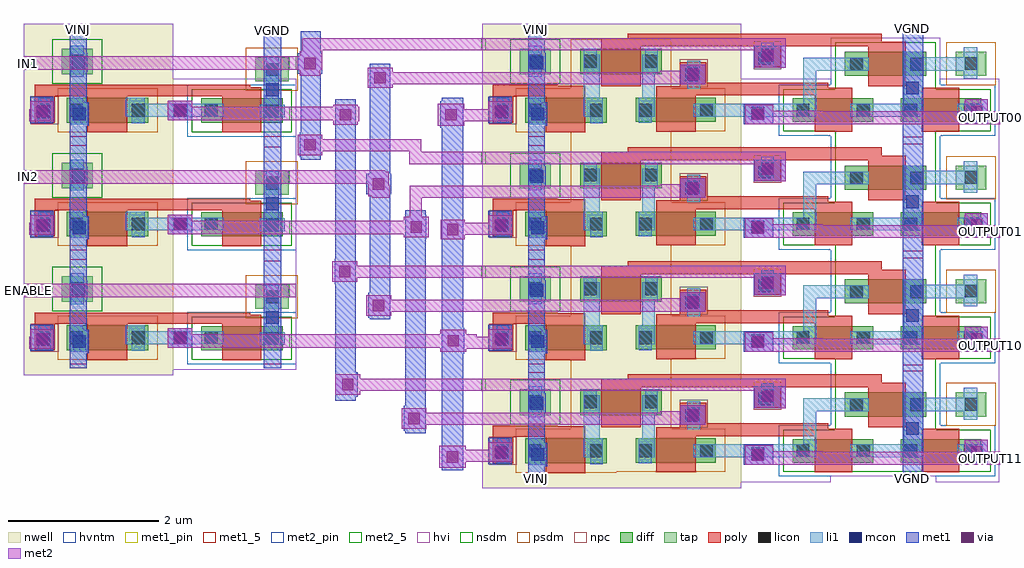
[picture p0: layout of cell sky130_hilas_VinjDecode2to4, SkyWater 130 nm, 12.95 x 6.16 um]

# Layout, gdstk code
import gdstk
lib = gdstk.Library(unit=1e-6, precision=1e-09)
def R(c, l, rs):  # rectangles x0, y0, x1, y1
    for r in rs: c.add(gdstk.rectangle(r[:2], r[2:], *l))
def A(c, l, x, y, w, h, nx, ny, dx, dy):  # array of equal rectangles
    R(c, l, [(x+i*dx, y+j*dy, x+i*dx+w, y+j*dy+h) for i in range(nx) for j in range(ny)])
nwell = (64, 20)
diff = (65, 20)
tap = (65, 44)
poly = (66, 20)
licon = (66, 44)
li1 = (67, 20)
mcon = (67, 44)
met1_5 = (68, 5)
met1_pin = (68, 16)
met1 = (68, 20)
via = (68, 44)
met2_5 = (69, 5)
met2_pin = (69, 16)
met2 = (69, 20)
hvi = (75, 20)
nsdm = (93, 44)
psdm = (94, 20)
npc = (95, 20)
hvntm = (125, 20)

sky130_hilas_vinjnor3 = lib.new_cell('sky130_hilas_VinjNOR3')
R(sky130_hilas_vinjnor3, nwell, [(-3.36,1.44,0.08,3.08)])
R(sky130_hilas_vinjnor3, diff, [(-2.79,1.77,-1.71,2.1), (-1.32,1.78,-0.26,2.1), (0.76,1.78,1.83,2.09), (2.19,1.78,3.26,2.09), (1.45,2.39,2.53,2.71), (-2.06,2.41,-0.98,2.75)])
R(sky130_hilas_vinjnor3, tap, [(2.92,2.39,3.33,2.71), (-2.86,2.41,-2.45,2.75)])
R(sky130_hilas_vinjnor3, poly, [(-2.52,1.64,-1.99,2.12), (-1.05,1.65,-0.53,2.13), (1.05,1.65,1.55,2.13), (2.47,1.65,2.97,2.23), (-3.22,1.77,-2.95,2.12), (-3.22,2.12,-1.99,2.26), (-1.05,2.13,1.55,2.23), (-1.05,2.23,1.23,2.25), (-1.78,2.25,-1.26,2.78), (-0.74,2.25,1.23,2.3), (1.76,2.25,2.26,2.78), (-3.22,2.26,-2.36,2.27), (-0.74,2.3,-0.39,2.57), (0.25,2.51,0.6,2.78), (-1.78,2.78,2.26,2.84), (-1.78,2.84,1.94,2.89), (-1.43,2.89,1.94,2.95)])
R(sky130_hilas_vinjnor3, licon, [(-3.17,1.85,-3,2.02), (-2.75,1.85,-2.58,2.02), (-1.93,1.85,-1.76,2.02), (-1.28,1.85,-1.11,2.02), (-0.47,1.85,-0.3,2.02), (0.81,1.85,0.98,2.02), (1.61,1.85,1.78,2.02), (2.24,1.85,2.41,2.02), (3.03,1.85,3.2,2.02), (-0.64,2.34,-0.47,2.51), (1.52,2.46,1.69,2.63), (2.32,2.46,2.49,2.63), (3.04,2.47,3.21,2.64), (-2.74,2.5,-2.57,2.67), (-2.01,2.5,-1.84,2.67), (-1.2,2.5,-1.03,2.67), (0.34,2.58,0.51,2.75)])
R(sky130_hilas_vinjnor3, li1, [(-2.74,1.75,-2.5,1.77), (-1.93,1.76,-1.76,1.85), (-3.17,1.77,-3,1.83), (-2.75,1.77,-2.5,2.04), (-1.28,1.77,-1.11,1.85), (0.21,1.81,0.38,1.85), (-3.19,1.83,-3,2), (-2.01,1.85,-1.76,2.1), (-1.28,1.85,-1.07,2.1), (-0.56,1.85,1.07,2.02), (1.52,1.85,2.49,2.02), (2.94,1.85,3.28,2.02), (-3.17,2,-3,2.1), (0.9,2.02,1.07,2.46), (2.23,2.02,2.49,2.46), (-2.75,2.04,-2.58,2.1), (-2.01,2.1,-1.8,2.67), (-1.24,2.1,-1.07,2.42), (-0.64,2.22,-0.47,2.32), (-0.67,2.32,-0.47,2.49), (3.03,2.35,3.21,2.46), (-2.74,2.38,-2.57,2.48), (-1.24,2.42,-1.03,2.67), (0.9,2.46,1.77,2.63), (2.23,2.46,3.21,2.64), (-2.74,2.48,-2.55,2.65), (-0.64,2.49,-0.47,2.59), (0.34,2.5,0.51,2.54), (0.3,2.54,0.51,2.71), (2.23,2.64,2.49,2.71), (3.03,2.64,3.21,2.77), (-2.74,2.65,-2.57,2.79), (-2.01,2.67,-1.84,2.75), (-1.2,2.67,-1.03,2.75), (0.34,2.71,0.51,2.83)])
R(sky130_hilas_vinjnor3, mcon, [(-2.71,1.8,-2.54,1.97), (0.21,1.81,0.38,1.98), (-3.19,1.83,-3.02,2), (2.265,2.145,2.435,2.315), (-0.67,2.32,-0.5,2.49), (-2.72,2.48,-2.55,2.65), (0.3,2.54,0.47,2.71)])
R(sky130_hilas_vinjnor3, met1_5, [(-2.75,1.53,-2.53,1.59), (2.22,1.53,2.49,1.58), (-2.75,2.97,-2.53,3.04), (2.22,2.99,2.49,3.05)])
R(sky130_hilas_vinjnor3, met1, [(-2.75,1.53,-2.53,1.73), (2.22,1.53,2.49,3.05), (-2.75,1.73,-2.5,2.04), (0.11,1.75,0.5,2.02), (-3.28,1.76,-2.97,2.11), (3.04,1.76,3.35,2.08), (-2.75,2.04,-2.53,2.44), (-0.73,2.28,-0.4,2.54), (-2.75,2.44,-2.52,2.7), (0.24,2.5,0.67,2.79), (-2.75,2.7,-2.53,3.04)])
R(sky130_hilas_vinjnor3, via, [(0.225,1.805,0.375,1.955), (-3.195,1.845,-3.045,1.995), (3.125,1.845,3.275,1.995), (-0.635,2.335,-0.485,2.485), (0.355,2.585,0.505,2.735)])
R(sky130_hilas_vinjnor3, met2_5, [(3.45,1.75,3.51,1.92), (-3.37,2.73,-3.31,2.89)])
R(sky130_hilas_vinjnor3, met2, [(0.13,1.75,3.51,1.92), (-3.36,1.79,-2.96,1.95), (0.13,1.92,1.16,1.93), (3.04,1.92,3.35,2.08), (0.13,1.93,0.5,2.01), (-3.28,1.95,-2.96,2.05), (-3.36,2.28,-0.4,2.44), (-1,2.44,-0.4,2.46), (-0.73,2.46,-0.4,2.54), (0.25,2.5,0.67,2.73), (-3.37,2.73,0.67,2.89)])
R(sky130_hilas_vinjnor3, hvi, [(-3.36,1.44,0.08,1.515), (-3.36,1.515,1.265,1.595), (2.66,1.515,3.5,1.595), (-3.36,1.595,3.5,2.355), (-3.36,2.355,0.08,3.08), (1.265,2.355,2.715,2.895)])
R(sky130_hilas_vinjnor3, nsdm, [(0.635,1.655,3.385,2.215), (1.325,2.215,2.655,2.835), (-2.985,2.285,-2.325,2.875)])
R(sky130_hilas_vinjnor3, psdm, [(-2.915,1.645,-1.585,1.655), (-2.915,1.655,-0.135,2.225), (-2.185,2.225,-0.855,2.875), (2.795,2.265,3.455,2.835)])
R(sky130_hilas_vinjnor3, npc, [(-3.27,1.75,-2.9,2.12), (-0.74,2.24,-0.37,2.61), (0.24,2.48,0.61,2.85)])
R(sky130_hilas_vinjnor3, hvntm, [(0.575,1.595,3.445,2.275), (1.265,2.275,2.715,2.895)])
sky130_hilas_vinjnor3.add(gdstk.Label('Output', (3.48,1.835), layer=69, texttype=5))
sky130_hilas_vinjnor3.add(gdstk.Label('Input1', (-3.34,2.81), layer=69, texttype=5))
sky130_hilas_vinjnor3.add(gdstk.Label('GND', (2.355,3.02), layer=68, texttype=5))
sky130_hilas_vinjnor3.add(gdstk.Label('GND', (2.355,1.555), layer=68, texttype=5))
sky130_hilas_vinjnor3.add(gdstk.Label('Vinj', (-2.64,1.56), layer=68, texttype=5))
sky130_hilas_vinjnor3.add(gdstk.Label('Vinj', (-2.64,3.005), layer=68, texttype=5))

sky130_hilas_vinjinv2 = lib.new_cell('sky130_hilas_VinjInv2')
R(sky130_hilas_vinjinv2, nwell, [(-3.36,1.44,-1.38,3.08)])
R(sky130_hilas_vinjinv2, diff, [(-2.79,1.77,-1.71,2.1), (-1.01,1.77,0.07,2.09)])
R(sky130_hilas_vinjinv2, tap, [(-0.29,2.32,0.15,2.64), (-2.86,2.41,-2.45,2.75)])
R(sky130_hilas_vinjinv2, poly, [(-2.52,1.64,-1.99,2.12), (-0.73,1.64,-0.21,2.12), (-3.22,1.77,-2.95,2.12), (-3.22,2.12,-0.21,2.24), (-3.22,2.24,-0.36,2.27)])
R(sky130_hilas_vinjinv2, licon, [(-0.15,1.84,0.02,2.01), (-3.17,1.85,-3,2.02), (-2.75,1.85,-2.58,2.02), (-1.93,1.85,-1.76,2.02), (-0.96,1.85,-0.79,2.02), (-0.15,2.39,0.02,2.56), (-2.74,2.5,-2.57,2.67)])
R(sky130_hilas_vinjinv2, li1, [(-2.74,1.75,-2.5,1.77), (-1.93,1.76,-1.76,1.85), (-3.17,1.77,-3,1.83), (-2.75,1.77,-2.5,2.04), (-3.19,1.83,-3,2), (-0.23,1.84,0.1,2.01), (-2.01,1.85,-0.71,2.02), (-3.17,2,-3,2.1), (-0.15,2.01,0.02,2.64), (-2.01,2.02,-1.76,2.1), (-2.75,2.04,-2.58,2.1), (-2.74,2.38,-2.57,2.48), (-2.74,2.48,-2.55,2.65), (-2.74,2.65,-2.57,2.79)])
R(sky130_hilas_vinjinv2, mcon, [(-2.71,1.8,-2.54,1.97), (-3.19,1.83,-3.02,2), (-1.37,1.85,-1.2,2.02), (-0.15,2.12,0.02,2.29), (-2.72,2.48,-2.55,2.65)])
R(sky130_hilas_vinjinv2, met1_5, [(-2.75,1.53,-2.53,1.59), (-0.18,1.53,0.05,1.59), (-0.18,2.95,0.05,3.04), (-2.75,2.97,-2.53,3.04)])
R(sky130_hilas_vinjinv2, met1, [(-2.75,1.53,-2.53,1.73), (-0.18,1.53,0.05,3.04), (-2.75,1.73,-2.5,2.04), (-3.28,1.76,-2.97,2.11), (-1.45,1.8,-1.13,2.06), (-2.75,2.04,-2.53,2.44), (-2.75,2.44,-2.52,2.7), (-2.75,2.7,-2.53,3.04)])
R(sky130_hilas_vinjinv2, via, [(-3.195,1.845,-3.045,1.995), (-1.365,1.855,-1.215,2.005)])
R(sky130_hilas_vinjinv2, met2_5, [(0.16,1.8,0.25,1.98), (-3.36,2.47,-3.26,2.65), (0.16,2.47,0.25,2.65)])
R(sky130_hilas_vinjinv2, met2, [(-3.29,1.79,-2.96,1.95), (-1.45,1.8,0.25,1.98), (-3.28,1.95,-2.96,2.05), (-1.45,1.98,-1.13,2.06), (-3.36,2.47,0.25,2.65)])
R(sky130_hilas_vinjinv2, hvi, [(-3.36,1.44,-1.38,1.51), (-3.36,1.51,0.255,2.35), (-3.36,2.35,-1.38,3.08)])
R(sky130_hilas_vinjinv2, nsdm, [(-1.135,1.645,0.195,2.215), (-2.985,2.285,-2.325,2.875)])
R(sky130_hilas_vinjinv2, psdm, [(-2.915,1.645,-1.585,2.225), (-0.415,2.195,0.275,2.765)])
R(sky130_hilas_vinjinv2, npc, [(-3.27,1.75,-2.9,2.12)])
R(sky130_hilas_vinjinv2, hvntm, [(-1.195,1.585,0.255,2.275)])
sky130_hilas_vinjinv2.add(gdstk.Label('Vinj', (-2.64,1.56), layer=68, texttype=5))
sky130_hilas_vinjinv2.add(gdstk.Label('Vinj', (-2.64,3.005), layer=68, texttype=5))
sky130_hilas_vinjinv2.add(gdstk.Label('GND', (-0.065,2.995), layer=68, texttype=5))
sky130_hilas_vinjinv2.add(gdstk.Label('GND', (-0.065,1.56), layer=68, texttype=5))
sky130_hilas_vinjinv2.add(gdstk.Label('Input', (-3.31,2.56), layer=69, texttype=5))
sky130_hilas_vinjinv2.add(gdstk.Label('Input', (0.205,2.56), layer=69, texttype=5))
sky130_hilas_vinjinv2.add(gdstk.Label('Output', (0.205,1.89), layer=69, texttype=5))

sky130_hilas_vinjdecode2 = lib.new_cell('sky130_hilas_VinjDecode2to4')
R(sky130_hilas_vinjdecode2, nwell, [(0.32,0.64,0.54,0.69), (0.32,6.59,0.54,6.65)])
R(sky130_hilas_vinjdecode2, met1_pin, [(0.32,0.64,0.54,0.69), (5.29,0.64,5.56,0.69), (-3.19,6.57,-2.96,6.66), (-5.76,6.58,-5.54,6.66), (0.32,6.59,0.54,6.65), (5.29,6.61,5.56,6.66)])
R(sky130_hilas_vinjdecode2, met1, [(0.32,0.64,0.54,0.69), (5.29,0.64,5.56,0.69), (-0.83,0.78,-0.54,2.32), (-1.31,1.27,-1.04,1.3), (-1.33,1.3,-1.04,1.63), (-1.31,1.63,-1.04,3.84), (-2.24,1.7,-1.97,1.75), (-2.24,1.75,-1.94,2.08), (-2.24,2.08,-1.97,3.25), (-0.83,2.32,-0.53,2.67), (-0.83,2.67,-0.54,5.32), (-1.78,2.78,-1.51,2.8), (-1.8,2.8,-1.51,3.13), (-1.78,3.13,-1.51,4.44), (-2.25,3.25,-1.97,3.58), (-2.24,3.58,-1.97,5.7), (-1.31,3.84,-1.03,4.17), (-1.31,4.17,-1.04,4.23), (-1.83,4.44,-1.5,4.71), (-1.78,4.71,-1.51,6.17), (-2.7,4.9,-2.43,4.93), (-2.71,4.93,-2.43,5.26), (-2.7,5.26,-2.43,6.04), (-0.85,5.32,-0.54,5.67), (-0.83,5.67,-0.54,5.72), (-2.74,6.04,-2.41,6.31), (-2.7,6.31,-2.43,6.6), (-3.19,6.57,-2.96,6.66), (-5.76,6.58,-5.54,6.66), (0.32,6.59,0.54,6.65), (5.29,6.61,5.56,6.66)])
R(sky130_hilas_vinjdecode2, via, [(-0.76,0.88,-0.61,1.03), (-1.27,1.39,-1.12,1.54), (-2.15,1.84,-2,1.99), (-0.75,2.42,-0.6,2.57), (-1.74,2.89,-1.59,3.04), (-2.19,3.34,-2.04,3.49), (-0.755,3.895,-0.605,4.045), (-1.24,3.93,-1.09,4.08), (-1.74,4.5,-1.59,4.65), (-2.65,5.02,-2.5,5.17), (-2.18,5.42,-2.03,5.57), (-0.78,5.42,-0.63,5.57), (-1.72,5.91,-1.57,6.06), (-2.65,6.1,-2.5,6.25)])
A(sky130_hilas_vinjdecode2, met2_pin, 6.45, 2.35, 0.13, 0.17, 1, 3, 0, 1.51)
A(sky130_hilas_vinjdecode2, met2_pin, -6.37, 3.07, 0.11, 0.18, 1, 3, 0, 1.51)
R(sky130_hilas_vinjdecode2, met2_pin, [(6.45,0.85,6.58,1.02)])
A(sky130_hilas_vinjdecode2, met2, 6.45, 2.35, 0.13, 0.17, 1, 3, 0, 1.51)
A(sky130_hilas_vinjdecode2, met2, -6.37, 3.07, 0.11, 0.18, 1, 3, 0, 1.51)
R(sky130_hilas_vinjdecode2, met2, [(-0.86,0.81,-0.51,0.89), (6.45,0.85,6.58,1.02), (-0.86,0.89,-0.29,1.05), (-0.86,1.05,-0.51,1.1), (-1.36,1.33,-1.03,1.38), (-1.36,1.38,-0.29,1.54), (-1.36,1.54,-1.03,1.6), (-2.24,1.78,-1.91,1.83), (-2.24,1.83,-0.29,1.99), (-2.24,1.99,-1.91,2.05), (-0.85,2.35,-0.5,2.39), (-0.85,2.39,-0.29,2.4), (-2.94,2.4,-0.29,2.55), (-2.94,2.55,-0.36,2.58), (-0.85,2.58,-0.5,2.64), (-1.83,2.83,-1.5,2.88), (-1.83,2.88,-0.29,3.04), (-1.83,3.04,-1.5,3.1), (-2.28,3.28,-1.95,3.33), (-2.28,3.33,-0.29,3.49), (-2.28,3.49,-1.95,3.55), (-0.84,3.84,-0.52,3.9), (-1.33,3.87,-1,3.91), (-0.84,3.9,-0.29,4.06), (-2.94,3.91,-1,4.09), (-0.84,4.06,-0.52,4.1), (-1.33,4.09,-1,4.14), (-1.25,4.14,-1.09,4.39), (-1.75,4.39,-1.52,4.41), (-1.25,4.39,-0.29,4.55), (-1.8,4.41,-1.52,4.55), (-1.8,4.55,-1.53,4.58), (-2.94,4.58,-1.53,4.74), (-2.94,4.74,-1.58,4.76), (-1.26,4.84,-0.3,5), (-2.74,4.96,-2.41,5.01), (-1.26,5,-1.1,5.01), (-2.74,5.01,-1.1,5.17), (-2.74,5.17,-2.41,5.23), (-0.88,5.35,-0.53,5.41), (-2.27,5.36,-1.94,5.41), (-2.27,5.41,-1.92,5.42), (-0.88,5.41,-0.29,5.57), (-2.94,5.42,-1.92,5.6), (-0.88,5.57,-0.53,5.64), (-2.27,5.6,-1.94,5.63), (-1.81,5.85,-1.48,5.9), (-1.81,5.9,-0.29,6.06), (-2.71,6.01,-2.44,6.09), (-1.81,6.06,-1.48,6.12), (-2.94,6.09,-2.41,6.27), (-2.71,6.27,-2.41,6.34), (-2.68,6.34,-2.41,6.35), (-2.68,6.35,-0.29,6.5), (-2.66,6.5,-0.29,6.51)])
A(sky130_hilas_vinjdecode2, hvi, 4.335, 2.115, 1.395, 0.08, 1, 3, 0, 1.51)
R(sky130_hilas_vinjdecode2, hvi, [(3.15,1.455,4.335,1.995), (5.785,1.455,6.57,1.995), (3.15,1.995,6.57,2.115), (-4.39,2.95,-2.755,3.62), (3.15,2.955,4.335,3.495), (5.785,2.955,6.57,3.495), (3.15,3.495,6.57,3.625), (-4.39,4.46,-2.755,5.13), (3.15,4.465,4.335,5.005), (5.785,4.465,6.57,5.005), (3.15,5.005,6.57,5.135)])
R(sky130_hilas_vinjdecode2, nsdm, [(4.395,1.935,5.725,2.255), (4.395,3.435,5.725,3.765), (4.395,4.945,5.725,5.275)])
A(sky130_hilas_vinjdecode2, psdm, 1.485, 2.245, 0.73, 0.01, 1, 3, 0, 1.51)
R(sky130_hilas_vinjdecode2, psdm, [(0.885,1.975,2.215,2.245), (0.885,3.475,2.215,3.755), (0.885,4.985,2.215,5.265)])
R(sky130_hilas_vinjdecode2, hvntm, [(4.335,1.995,5.785,2.195), (4.335,3.495,5.785,3.705), (4.335,5.005,5.785,5.215)])
sky130_hilas_vinjdecode2.add(gdstk.Reference(sky130_hilas_vinjnor3, (3.07,2.11)))
sky130_hilas_vinjdecode2.add(gdstk.Reference(sky130_hilas_vinjnor3, (3.07,0.6)))
sky130_hilas_vinjdecode2.add(gdstk.Reference(sky130_hilas_vinjnor3, (3.07,3.62)))
sky130_hilas_vinjdecode2.add(gdstk.Reference(sky130_hilas_vinjnor3, (3.07,-0.9)))
sky130_hilas_vinjdecode2.add(gdstk.Reference(sky130_hilas_vinjinv2, (-3.01,3.62)))
sky130_hilas_vinjdecode2.add(gdstk.Reference(sky130_hilas_vinjinv2, (-3.01,2.11)))
sky130_hilas_vinjdecode2.add(gdstk.Reference(sky130_hilas_vinjinv2, (-3.01,0.6)))
sky130_hilas_vinjdecode2.add(gdstk.Label('OUTPUT00', (6.515,5.455), layer=69, texttype=16))
sky130_hilas_vinjdecode2.add(gdstk.Label('OUTPUT01', (6.515,3.945), layer=69, texttype=16))
sky130_hilas_vinjdecode2.add(gdstk.Label('OUTPUT10', (6.515,2.435), layer=69, texttype=16))
sky130_hilas_vinjdecode2.add(gdstk.Label('OUTPUT11', (6.515,0.935), layer=69, texttype=16))
sky130_hilas_vinjdecode2.add(gdstk.Label('VGND', (5.425,6.635), layer=68, texttype=16))
sky130_hilas_vinjdecode2.add(gdstk.Label('VGND', (5.425,0.665), layer=68, texttype=16))
sky130_hilas_vinjdecode2.add(gdstk.Label('VGND', (-3.075,6.615), layer=68, texttype=16))
sky130_hilas_vinjdecode2.add(gdstk.Label('VINJ', (0.43,0.665), layer=68, texttype=16))
sky130_hilas_vinjdecode2.add(gdstk.Label('VINJ', (0.43,6.62), layer=68, texttype=16))
sky130_hilas_vinjdecode2.add(gdstk.Label('VINJ', (-5.65,6.62), layer=68, texttype=16))
sky130_hilas_vinjdecode2.add(gdstk.Label('IN2', (-6.315,4.67), layer=69, texttype=16))
sky130_hilas_vinjdecode2.add(gdstk.Label('IN1', (-6.315,6.18), layer=69, texttype=16))
sky130_hilas_vinjdecode2.add(gdstk.Label('ENABLE', (-6.315,3.16), layer=69, texttype=16))

lib.write_gds('sky130_hilas_VinjDecode2to4.gds')
